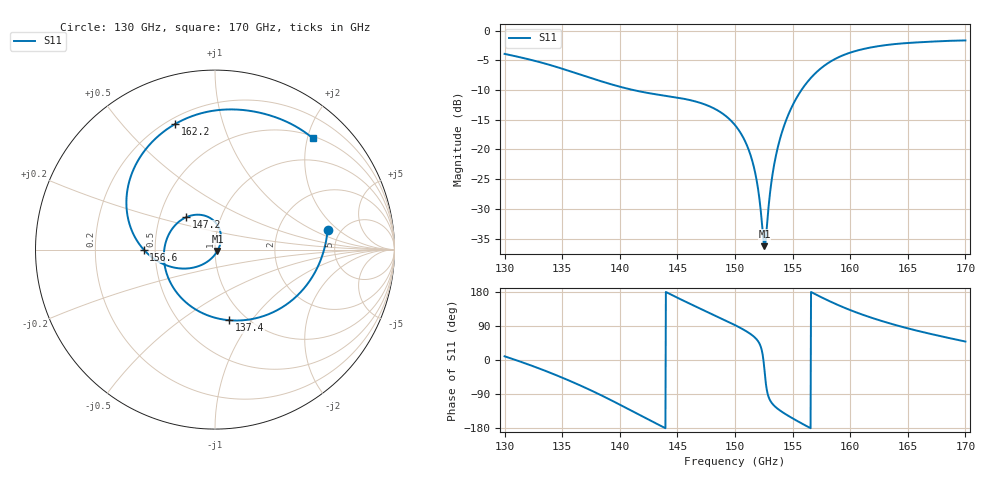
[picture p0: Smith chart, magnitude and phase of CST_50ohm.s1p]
! TOUCHSTONE file generated by CST MICROWAVE STUDIO
! Date and time: Thu Nov 19 15:17:39 2026
! Project name: H085_Production.cst
! Parameters = {array_spacing=1.12; eps_r=3.5; feed_width=0.1913; ground_length=1.5; ground_width=2.5; inset_gap=0.02; inset_length=0.165; junction_y=-0.405; launch_length=0.5; loss_tangent=0.0027; mesh_box=54; mesh_near=36; metal_thickness=0.002; patch_length=0.5102; patch_width=0.667; port_halfwid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
! Header version: 2024
! Port assignment regex: !\s*Touchstone port\s*([0-9]+)\s*=\s*(CST MWS port|CST DES external port|CST DES block port)\s*(.+)\s* \(\"(.*)\"\)(\s*mode\s*([0-9]+))?.*
! Touchstone port assignment:
! Touchstone port 1 = CST MWS port 1 ("50ohm_microstrip")
# GHz S RI R 50
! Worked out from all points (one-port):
!   1001 points, 130 GHz to 170 GHz, reference 50 ohm
!   lowest |S11| = -36.3 dB at 152.6 GHz (marker M1), VSWR 1.03, Z = 51.4 - j0.713 ohm
!   |S11| at or under -10 dB: 141.1 GHz to 155.8 GHz (14.62 GHz wide, 9.85 % of centre)
!   S11 on the Smith chart (normalised r, x): 130 GHz: 3.95, +1.43; 137.4 GHz: 0.84, -0.78; 147.2 GHz: 0.68, +0.26; 156.6 GHz: 0.43, -0.00; 162.2 GHz: 0.23, +0.70; 170 GHz: 0.54, +2.09
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130  0.6272 0.1079
132.4  0.5428 -0.151
135  0.3282 -0.3468
137.4  0.0782 -0.3935
140  -0.1572 -0.2981
142.48  -0.2742 -0.1165
145  -0.2626 0.0736
147.24  -0.1613 0.1801
148.8  -0.0691 0.1919
150  -0.00591 0.16
150.88  0.025 0.1142
151.56  0.0337 0.0683
151.96  0.0308 0.0386
152.4  0.0198 0.0051
152.56  0.0137 -0.00693
152.72  0.00634 -0.0187
153.12  -0.0172 -0.0466
153.56  -0.0514 -0.0731
154.2  -0.1151 -0.0991
155  -0.211 -0.1031
156.56  -0.397 -0.000469
158.24  -0.4928 0.2326
160  -0.4343 0.4866
162.24  -0.223 0.6991
163.56  -0.0733 0.7606
165  0.089 0.7811
167.4  0.3302 0.7399
170  0.5445 0.6207
